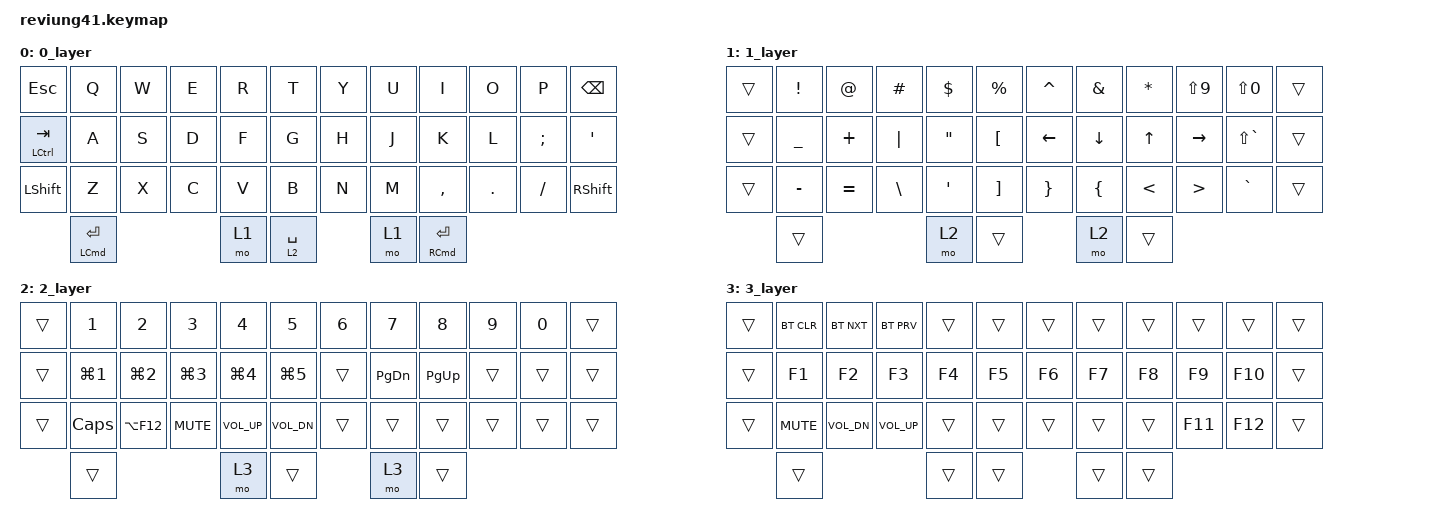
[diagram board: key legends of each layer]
/*
 * Copyright (c) 2020 The ZMK Contributors
 *
 * SPDX-License-Identifier: MIT
 */

#include <behaviors.dtsi>
#include <dt-bindings/zmk/keys.h>
#include <dt-bindings/zmk/bt.h>
#include <dt-bindings/zmk/rgb.h>



/ {
keymap { compatible = "zmk,keymap";

// -----------------------------------------------------------------------------------------
0_layer { bindings = <
// |             |     |     |     |     |       |     |      |         |       |        |        |
   &kp ESC       &kp Q &kp W &kp E &kp R &kp T   &kp Y &kp U  &kp I     &kp O   &kp P    &kp BSPC
   &mt LCTRL TAB &kp A &kp S &kp D &kp F &kp G   &kp H &kp J  &kp K     &kp L   &kp SEMI &kp SQT
   &kp LSHFT     &kp Z &kp X &kp C &kp V &kp B   &kp N &kp M  &kp COMMA &kp DOT &kp FSLH &kp RSHFT
                 &mt LCMD RET    &mo 1    &lt 2 SPACE    &mo 1    &mt RCMD RET

>; };


// -----------------------------------------------------------------------------------------
1_layer { bindings = <
// |          |          |           |             |             |                |             |              |               |                |                |     |
   &trans    &kp EXCL    &kp AT      &kp HASH      &kp DLLR      &kp PRCNT        &kp CARET     &kp AMPS       &kp ASTRK       &kp LS(N9)       &kp LS(N0)       &trans
   &trans    &kp UNDER   &kp PLUS    &kp PIPE      &kp DQT       &kp LBKT         &kp LEFT      &kp DOWN       &kp UP          &kp RIGHT        &kp LS(GRAVE)    &trans
   &trans    &kp MINUS   &kp EQUAL   &kp BSLH      &kp SQT       &kp RBKT         &kp RBRC      &kp LBRC       &kp LT          &kp GT           &kp GRAVE        &trans
                   &trans    &mo 2    &trans    &mo 2    &trans

>; };

// &bt BT_CLR &bt BT_SEL 0 &bt BT_SEL 1 &bt BT_SEL 2 &bt BT_SEL 3 &bt BT_SEL 4 

// -----------------------------------------------------------------------------------------
2_layer { bindings = <
// |         |            |             |            |              |               |         |         |          |         |         |        | 
   &trans    &kp N1       &kp N2        &kp N3       &kp N4         &kp N5          &kp N6    &kp N7    &kp N8     &kp N9    &kp N0    &trans 
   &trans    &kp LG(N1)   &kp LG(N2)    &kp LG(N3)   &kp LG(N4)     &kp LG(N5)      &trans    &kp PG_DN &kp PG_UP  &trans    &trans    &trans
   &trans    &kp CAPS     &kp LA(F12)   &kp C_MUTE   &kp C_VOL_UP   &kp C_VOL_DN          &trans    &trans    &trans     &trans    &trans    &trans
                   &trans    &mo 3    &trans     &mo 3    &trans

>;};

// -----------------------------------------------------------------------------------------
3_layer { bindings = <
// |         |            |               |                |            |              |         |         |          |         |         |        | 
   &trans    &bt BT_CLR   &bt BT_NXT      &bt BT_PRV       &trans       &trans         &trans    &trans    &trans     &trans    &trans    &trans 
   &trans    &kp F1       &kp F2          &kp F3           &kp F4       &kp F5         &kp F6    &kp F7    &kp F8     &kp F9    &kp F10   &trans
   &trans    &kp C_MUTE   &kp C_VOL_DN    &kp C_VOL_UP     &trans       &trans         &trans    &trans    &trans     &kp F11   &kp F12   &trans
                   &trans    &trans    &trans     &trans    &trans



>;};

};


};






